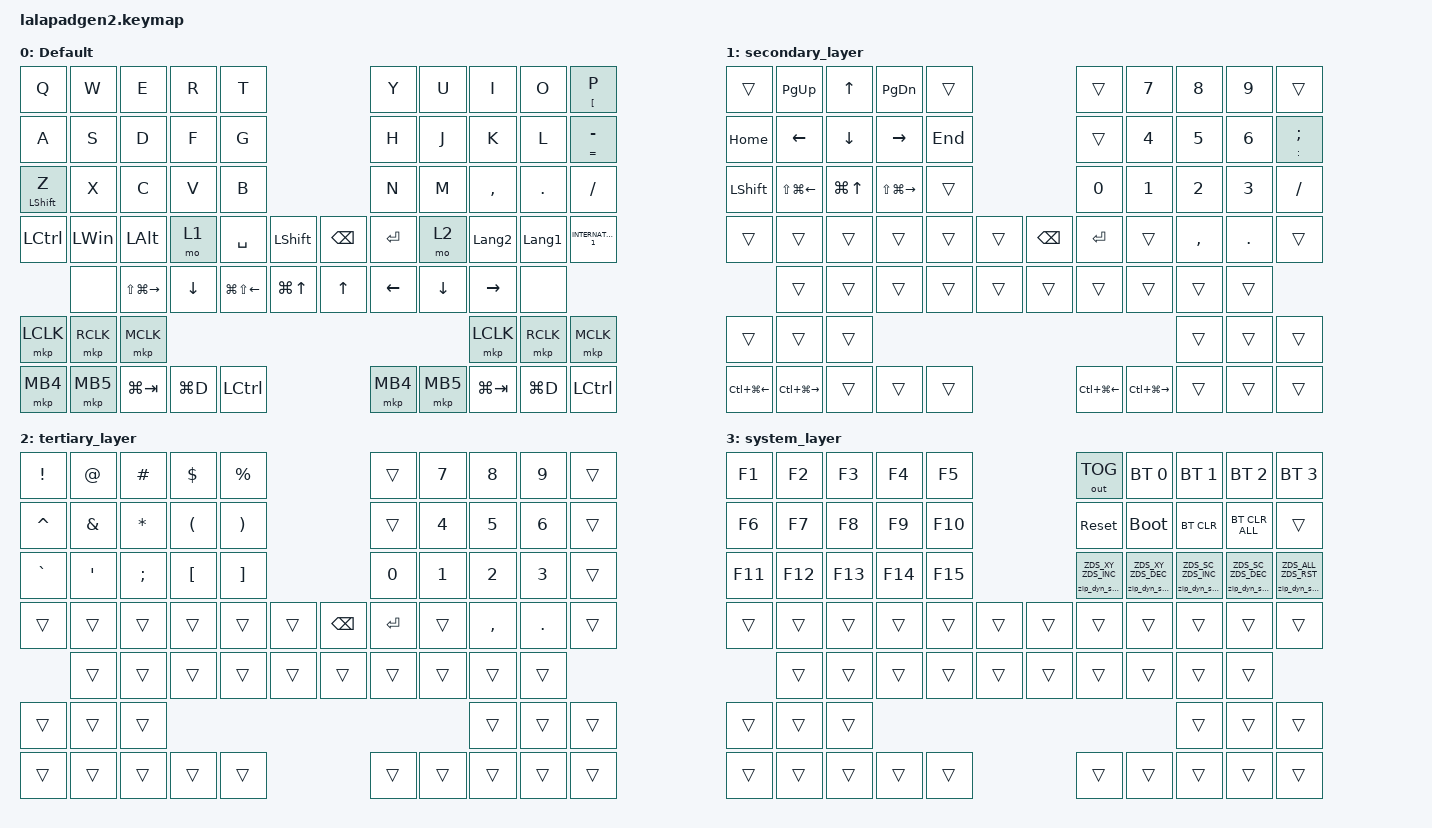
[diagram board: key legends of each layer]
#include <input/processors.dtsi>
#include <dt-bindings/zmk/zip_dynamic_scale.h>
#include <behaviors.dtsi>
#include <dt-bindings/zmk/bt.h>
#include <dt-bindings/zmk/keys.h>
#include <dt-bindings/zmk/outputs.h>
#include <dt-bindings/zmk/pointing.h>

#define DEFAULT_LAYER   0
#define SECONDARY_LAYER 1
#define TERTIARY_LAYER  2
#define SYSTEM_LAYER    3

&mt { quick-tap-ms = <200>; };

&lt { quick-tap-ms = <200>; };

/ {
    behaviors {
        scroll_scale: scroll_scale {
            compatible = "zmk,behavior-scroll-scale";
            scroll_scale = <35>;
        };

        zip_dyn_scale: zip_dyn_scale {
            compatible = "zmk,behavior-zip-dynamic-scale";
            #binding-cells = <2>;
        };

        zip_dyn_scale_set: zip_dyn_scale_set {
            compatible = "zmk,behavior-zip-dynamic-scale-set";
            #binding-cells = <2>;
        };

        mt2: mod_tap2 {
            compatible = "zmk,behavior-hold-tap";
            #binding-cells = <2>;
            flavor = "tap-preferred";
            tapping-term-ms = <200>;
            quick-tap-ms = <200>;
            require-prior-idle-ms = <125>;
            bindings = <&kp>, <&kp>;
        };

        tap_dance_layer_1and2: tap_dance_layer_1and2 {
            compatible = "zmk,behavior-tap-dance";
            label = "td_mo12";
            #binding-cells = <0>;
            bindings = <&mo 1>, <&mo 2>;
        };
    };

    combos {
        compatible = "zmk,combos";

        CONBO_ESC {
            bindings = <&kp ESCAPE>;
            key-positions = <0 1>;
        };

        COMBO_TAB {
            bindings = <&kp TAB>;
            key-positions = <10 11>;
        };
    };

    keymap {
        compatible = "zmk,keymap";

        DEFAULT_LAYER {
            display-name = "Default";
            bindings = <
&kp Q              &kp W      &kp E              &kp R      &kp T                                            &kp Y      &kp U     &kp I           &kp O           &mt2 LEFT_BRACKET P
&kp A              &kp S      &kp D              &kp F      &kp G                                            &kp H      &kp J     &kp K           &kp L           &mt2 EQUAL MINUS
&mt2 LEFT_SHIFT Z  &kp X      &kp C              &kp V      &kp B                                            &kp N      &kp M     &kp COMMA       &kp PERIOD      &kp SLASH
&kp LCTRL          &kp LWIN   &kp LEFT_ALT       &mo 1      &kp SPACE         &kp LEFT_SHIFT  &kp BACKSPACE  &kp ENTER  &mo 2     &kp LANGUAGE_2  &kp LANGUAGE_1  &kp INTERNATIONAL_1
                   &none      &kp LS(LG(RIGHT))  &kp DOWN   &kp LG(LS(LEFT))  &kp LG(UP)      &kp UP         &kp LEFT   &kp DOWN  &kp RIGHT       &none
&mkp LCLK          &mkp RCLK  &mkp MCLK                                                                                           &mkp LCLK       &mkp RCLK       &mkp MCLK
&mkp MB4           &mkp MB5   &kp LG(TAB)        &kp LG(D)  &kp LCTRL                                        &mkp MB4   &mkp MB5  &kp LG(TAB)     &kp LG(D)       &kp LCTRL
            >;
        };

        SECONDARY_LAYER {
            display-name = "secondary_layer";
            bindings = <
&trans            &kp PAGE_UP        &kp UP_ARROW      &kp PAGE_DOWN      &trans                          &trans            &kp NUMBER_7       &kp NUMBER_8  &kp NUMBER_9  &trans
&kp HOME          &kp LEFT           &kp DOWN          &kp RIGHT          &kp END                         &trans            &kp NUMBER_4       &kp NUMBER_5  &kp NUMBER_6  &mt COLON SEMI
&kp LEFT_SHIFT    &kp LS(LG(LEFT))   &kp LG(UP_ARROW)  &kp LS(LG(RIGHT))  &trans                          &kp NUMBER_0      &kp NUMBER_1       &kp NUMBER_2  &kp NUMBER_3  &kp SLASH
&trans            &trans             &trans            &trans             &trans   &trans  &kp BACKSPACE  &kp ENTER         &trans             &kp COMMA     &kp PERIOD    &trans
                  &trans             &trans            &trans             &trans   &trans  &trans         &trans            &trans             &trans        &trans
&trans            &trans             &trans                                                                                                    &trans        &trans        &trans
&kp LC(LG(LEFT))  &kp LC(LG(RIGHT))  &trans            &trans             &trans                          &kp LC(LG(LEFT))  &kp LC(LG(RIGHT))  &trans        &trans        &trans
            >;
        };

        TERTIARY_LAYER {
            display-name = "tertiary_layer";
            bindings = <
&kp EXCLAMATION  &kp AT_SIGN    &kp HASH      &kp DOLLAR            &kp PERCENT                                   &trans     &kp N7  &kp N8     &kp N9      &trans
&kp CARET        &kp AMPERSAND  &kp ASTERISK  &kp LEFT_PARENTHESIS  &kp RIGHT_PARENTHESIS                         &trans     &kp N4  &kp N5     &kp N6      &trans
&kp GRAVE        &kp SQT        &kp SEMI      &kp LEFT_BRACKET      &kp RIGHT_BRACKET                             &kp N0     &kp N1  &kp N2     &kp N3      &trans
&trans           &trans         &trans        &trans                &trans                 &trans  &kp BACKSPACE  &kp ENTER  &trans  &kp COMMA  &kp PERIOD  &trans
                 &trans         &trans        &trans                &trans                 &trans  &trans         &trans     &trans  &trans     &trans
&trans           &trans         &trans                                                                                               &trans     &trans      &trans
&trans           &trans         &trans        &trans                &trans                                        &trans     &trans  &trans     &trans      &trans
            >;
        };

        SYSTEM_LAYER {
            display-name = "system_layer";
            bindings = <
&kp F1   &kp F2   &kp F3   &kp F4   &kp F5                   &out OUT_TOG                   &bt BT_SEL 0                   &bt BT_SEL 1                   &bt BT_SEL 2                   &bt BT_SEL 3
&kp F6   &kp F7   &kp F8   &kp F9   &kp F10                  &sys_reset                     &bootloader                    &bt BT_CLR                     &bt BT_CLR_ALL                 &trans
&kp F11  &kp F12  &kp F13  &kp F14  &kp F15                  &zip_dyn_scale ZDS_XY ZDS_INC  &zip_dyn_scale ZDS_XY ZDS_DEC  &zip_dyn_scale ZDS_SC ZDS_INC  &zip_dyn_scale ZDS_SC ZDS_DEC  &zip_dyn_scale ZDS_ALL ZDS_RST
&trans   &trans   &trans   &trans   &trans   &trans  &trans  &trans                         &trans                         &trans                         &trans                         &trans
         &trans   &trans   &trans   &trans   &trans  &trans  &trans                         &trans                         &trans                         &trans
&trans   &trans   &trans                                                                                                   &trans                         &trans                         &trans
&trans   &trans   &trans   &trans   &trans                   &trans                         &trans                         &trans                         &trans                         &trans
            >;
        };
    };

    conditional_layers {
        compatible = "zmk,conditional-layers";

        Cond_Syslayer {
            if-layers = <1 2>;
            then-layer = <3>;
        };
    };
};
